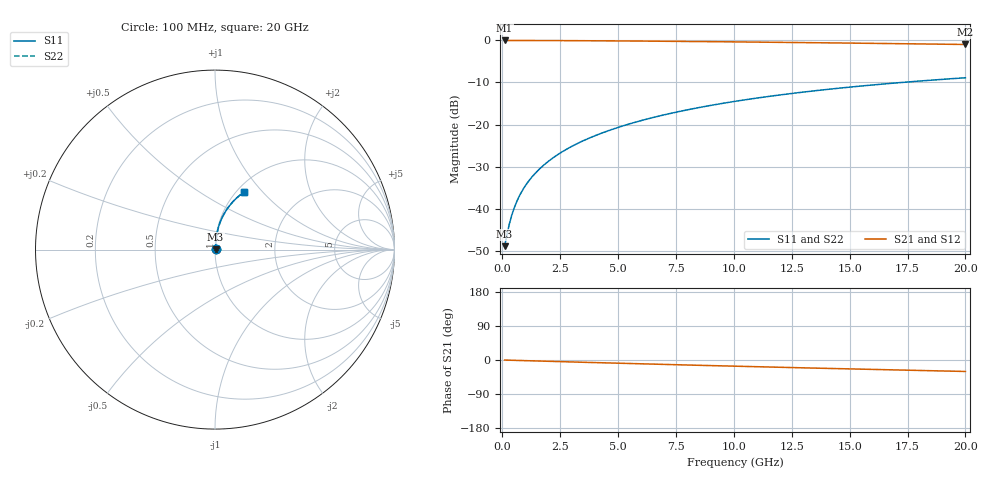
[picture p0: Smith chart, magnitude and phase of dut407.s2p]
! Touchstone file exported from HFSS 2024.1.0
!  File:  C:/UserFiles/LocalFiles/RDL_TSV_Batchsim/temp_RDL_top_407_1779675379.aedt
!  Generated:  10:18:50 AM May 25, 2026
!  Design:  RDL_top
!  Project:  temp_RDL_top_407_1779675379
!  Setup:  Setup1
!  Solution:  Sweep
! Variables:
!  dtsv = 10.80580581um
!  hbump = 3um
!  htsv = 64.82um
!  ldown = 100um
!  lrdl = 342.77um
!  p = 40
!  p1 = 57.58um
!  rhole = 1um
!  t = 450um
!  tdown = 3.915915916um
!  trdl = 2.54um
!  wdown = 15.38538539um
!  wrdl = 16.89um
# GHz S MA R 50.000000
! Terminal data exported
! Port[1] = Box2_T1
! Port[2] = Box2_T2
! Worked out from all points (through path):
!   200 points, 100 MHz to 20 GHz, reference 50 ohm
!   highest |S21| = -0.03 dB at 100 MHz (marker M1); lowest = -1.0 dB at 20 GHz (marker M2)
!   group delay of S21, straight-line fit = 4.19 ps
!   lowest |S11| = -48.8 dB at 100 MHz (marker M3), VSWR 1.01, Z = 50.3 + j0.193 ohm
!   |S11| at or under -10 dB: start of sweep to 17.23 GHz
!   |S22| runs from -48.8 to -8.9 dB; largest |S21 - S12| = 5.4e-15
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0.1  0.003619 32.1  0.9969 -0.2  0.9969 -0.2  0.003619 32.1
! Gamma 0 0 0 0
! Port Impedance 50 0 50 0
0.2  0.00494 50.9  0.9969 -0.4  0.9969 -0.4  0.00494 50.9
0.3  0.006555 60.9  0.9968 -0.5  0.9968 -0.5  0.006555 60.9
0.4  0.008275 66.6  0.9967 -0.7  0.9967 -0.7  0.008275 66.6
0.5  0.01003 70.3  0.9966 -0.9  0.9966 -0.9  0.01003 70.3
0.6  0.0118 72.9  0.9964 -1.1  0.9964 -1.1  0.0118 72.9
0.8  0.01536 76.2  0.9962 -1.4  0.9962 -1.4  0.01536 76.2
1.1  0.0207 79.0  0.9958 -1.9  0.9958 -1.9  0.0207 79.0
1.5  0.02787 81.1  0.9952 -2.6  0.9952 -2.6  0.02787 81.1
1.8  0.03329 82.0  0.9946 -3.1  0.9946 -3.1  0.03329 82.0
2.1  0.03873 82.6  0.994 -3.6  0.994 -3.6  0.03873 82.6
2.7  0.04971 83.2  0.9926 -4.7  0.9926 -4.7  0.04971 83.2
3.5  0.06452 83.4  0.9903 -6.0  0.9903 -6.0  0.06452 83.4
4.2  0.07762 83.2  0.9879 -7.2  0.9879 -7.2  0.07762 83.2
5  0.09274 82.8  0.9848 -8.5  0.9848 -8.5  0.09273 82.8
5.9  0.1099 82.0  0.9809 -9.9  0.9809 -9.9  0.1099 82.0
6.8  0.1271 81.1  0.9766 -11.4  0.9766 -11.4  0.1271 81.1
8.4  0.1577 79.2  0.9683 -13.9  0.9683 -13.9  0.1577 79.2
10.1  0.19 76.9  0.9587 -16.4  0.9587 -16.4  0.19 76.9
13.4  0.2506 72.3  0.9384 -21.3  0.9384 -21.3  0.2506 72.3
16.7  0.3075 67.6  0.9165 -25.9  0.9165 -25.9  0.3075 67.6
20  0.36 63.1  0.8933 -30.2  0.8933 -30.2  0.3599 63.1
